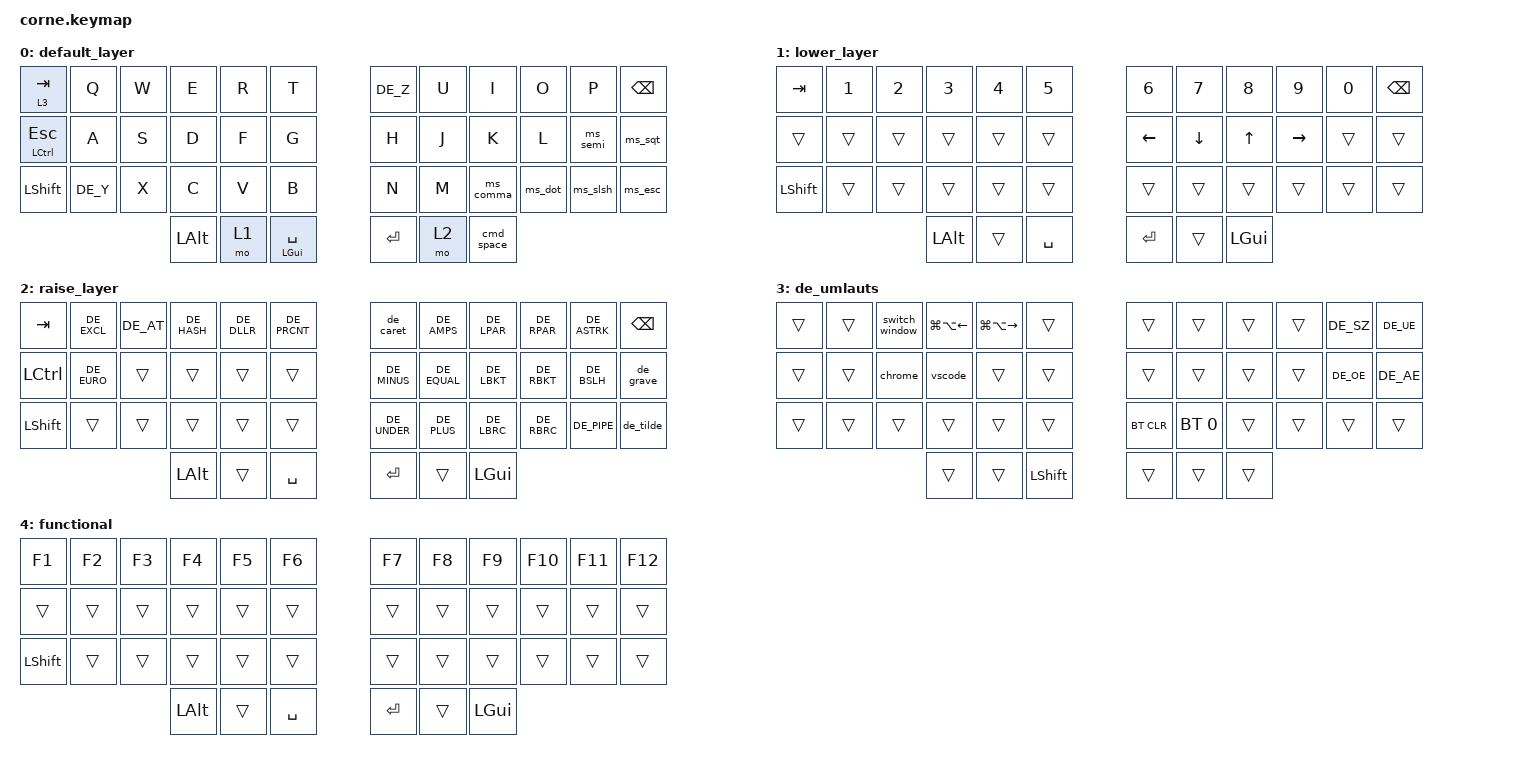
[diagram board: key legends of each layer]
/*
 * Copyright (c) 2020 The ZMK Contributors
 *
 * SPDX-License-Identifier: MIT
 */

#include <behaviors.dtsi>
#include <dt-bindings/zmk/bt.h>
#include <dt-bindings/zmk/keys.h>

/*
 * The host uses the macOS "German" input source (same as the laptop keyboard).
 * DE_* aliases map each character to the keycode that produces it there.
 */
#include "keys_de_mac.h"

/*                                      42 KEY MATRIX / LAYOUT MAPPING

  ╭────────────────────────┬────────────────────────╮ ╭─────────────────────────┬─────────────────────────╮
  │  0   1   2   3   4   5 │  6   7   8   9  10  11 │ │ LT5 LT4 LT3 LT2 LT1 LT0 │ RT0 RT1 RT2 RT3 RT4 RT5 │
  │ 12  13  14  15  16  17 │ 18  19  20  21  22  23 │ │ LM5 LM4 LM3 LM2 LM1 LM0 │ RM0 RM1 RM2 RM3 RM4 RM5 │
  │ 24  25  26  27  28  29 │ 30  31  32  33  34  35 │ │ LB5 LB4 LB3 LB2 LB1 LB0 │ RB0 RB1 RB2 RB3 RB4 RB5 │
  ╰───────────╮ 36  37  38 │ 39  40  41 ╭───────────╯ ╰───────────╮ LH2 LH1 LH0 │ RH0 RH1 RH2 ╭───────────╯
              ╰────────────┴────────────╯                         ╰─────────────┴─────────────╯             */

/ {
    macros {
        vscode: vscode {
            compatible = "zmk,behavior-macro";
            #binding-cells = <0>;
            bindings = <&kp LA(LC(LG(T)))>;
        };

        chrome: chrome {
            compatible = "zmk,behavior-macro";
            #binding-cells = <0>;
            bindings = <&kp LA(LC(LG(C)))>;
        };

        // Cmd+< cycles windows of the current app on a German Mac layout
        switch_window: switch_window {
            compatible = "zmk,behavior-macro";
            #binding-cells = <0>;
            bindings = <&kp LG(DE_LT)>;
        };

        // Dead keys + space, so ^ ` ~ are typed immediately
        de_caret: de_caret {
            compatible = "zmk,behavior-macro";
            #binding-cells = <0>;
            bindings = <&macro_tap &kp DE_DEAD_CARET &kp SPACE>;
        };

        de_grave: de_grave {
            compatible = "zmk,behavior-macro";
            #binding-cells = <0>;
            bindings = <&macro_tap &kp DE_DEAD_GRAVE &kp SPACE>;
        };

        de_tilde: de_tilde {
            compatible = "zmk,behavior-macro";
            #binding-cells = <0>;
            bindings = <&macro_tap &kp DE_DEAD_TILDE &kp SPACE>;
        };
    };

    /* combos {
        compatible = "zmk,combos";

        app_vscode {
            bindings = <&vscode>;
            key-positions = <13 14>;
            layers = <0>;
            require-prior-idle-ms = <300>;
        };

        app_chrome {
            bindings = <&chrome>;
            key-positions = <15 16>;
            layers = <0>;
            require-prior-idle-ms = <300>;
        };

        nav_switch_window {
            bindings = <&switch_window>;
            key-positions = <14 15>;
            layers = <0>;
            require-prior-idle-ms = <300>;
        };
    }; */

    // Holding lower + raise together activates the functional (F-key) layer
    conditional_layers {
        compatible = "zmk,conditional-layers";

        fn_layer {
            if-layers = <1 2>;
            then-layer = <4>;
        };
    };

    behaviors {
        cmd_space: cmd_space {
            compatible = "zmk,behavior-tap-dance";
            #binding-cells = <0>;
            tapping-term-ms = <200>;
            bindings = <&kp LGUI>, <&kp LG(SPC)>;
        };

        /*
         * First argument is the kp on hold, second on tap.
         * "balanced": only becomes a hold if another key is pressed AND released
         * while held, so rolls like Space→W stay taps.
         */
        td: tapdance {
            compatible = "zmk,behavior-hold-tap";
            #binding-cells = <2>;
            flavor = "balanced";
            tapping-term-ms = <250>;
            quick-tap-ms = <175>;
            require-prior-idle-ms = <150>;
            bindings = <&kp>, <&kp>;
        };

        td_umlauts: td_umlauts {
            compatible = "zmk,behavior-hold-tap";
            #binding-cells = <2>;
            flavor = "balanced";
            tapping-term-ms = <200>;
            quick-tap-ms = <175>;
            bindings = <&mo>, <&kp>;
        };

        /*
         * Base-layer punctuation keeps US-style shift pairs (Shift+; = :, etc.),
         * which the German layout would otherwise put elsewhere.
         */
        ms_semi: ms_semi {
            compatible = "zmk,behavior-mod-morph";
            #binding-cells = <0>;
            bindings = <&kp DE_SEMI>, <&kp DE_COLON>;
            mods = <(MOD_LSFT|MOD_RSFT)>;
        };

        ms_sqt: ms_sqt {
            compatible = "zmk,behavior-mod-morph";
            #binding-cells = <0>;
            bindings = <&kp DE_SQT>, <&kp DE_DQT>;
            mods = <(MOD_LSFT|MOD_RSFT)>;
        };

        ms_comma: ms_comma {
            compatible = "zmk,behavior-mod-morph";
            #binding-cells = <0>;
            bindings = <&kp DE_COMMA>, <&kp DE_LT>;
            mods = <(MOD_LSFT|MOD_RSFT)>;
        };

        ms_dot: ms_dot {
            compatible = "zmk,behavior-mod-morph";
            #binding-cells = <0>;
            bindings = <&kp DE_DOT>, <&kp DE_GT>;
            mods = <(MOD_LSFT|MOD_RSFT)>;
        };

        ms_slsh: ms_slsh {
            compatible = "zmk,behavior-mod-morph";
            #binding-cells = <0>;
            bindings = <&kp DE_SLSH>, <&kp DE_QMARK>;
            mods = <(MOD_LSFT|MOD_RSFT)>;
        };

        ms_esc: ms_esc {
            compatible = "zmk,behavior-mod-morph";
            #binding-cells = <0>;
            bindings = <&kp ESC>, <&de_grave>;
            mods = <(MOD_LSFT|MOD_RSFT)>;
        };
    };

    keymap {
        compatible = "zmk,keymap";

        default_layer {
            // -------------------------------------------------------------------------------------
            // | TAB/UML |  Q  |  W  |  E  |  R  |  T  |   |  Z  |  U  |  I  |  O  |  P  | BSPC |
            // | ESC/CTL |  A  |  S  |  D  |  F  |  G  |   |  H  |  J  |  K  |  L  | ; : | ' "  |
            // |  SHFT   |  Y  |  X  |  C  |  V  |  B  |   |  N  |  M  | , < | . > | / ? | ESC ` |
            //                 | ALT | LWR | SPC/GUI |   | ENT | RSE | GUI/⌘SPC |

            bindings = <
&td_umlauts 3 TAB     &kp Q     &kp W  &kp E         &kp R  &kp T        &kp DE_Z  &kp U  &kp I      &kp O    &kp P     &kp BSPC
&td LCTRL ESC         &kp A     &kp S  &kp D         &kp F  &kp G        &kp H     &kp J  &kp K      &kp L    &ms_semi  &ms_sqt
&kp LSHFT             &kp DE_Y  &kp X  &kp C         &kp V  &kp B        &kp N     &kp M  &ms_comma  &ms_dot  &ms_slsh  &ms_esc
                            &kp LEFT_ALT  &mo 1  &td LGUI SPACE      &kp RET  &mo 2  &cmd_space
            >;
        };

        lower_layer {
            // -----------------------------------------------------------------------------------------
            // |  TAB |  1  |  2  |  3  |  4  |  5  |   |  6  |  7  |  8  |  9  |  0  | BSPC |
            // |      |     |     |     |     |     |   | LFT | DWN |  UP | RGT |     |      |
            // | SHFT |     |     |     |     |     |   |     |     |     |     |     |      |
            //                    | ALT |     | SPC |   | ENT |     | GUI |

            bindings = <
&kp TAB     &kp N1        &kp N2        &kp N3        &kp N4        &kp N5          &kp N6    &kp N7    &kp N8    &kp N9      &kp N0   &kp BSPC
&trans      &trans        &trans        &trans        &trans        &trans          &kp LEFT  &kp DOWN  &kp UP    &kp RIGHT   &trans   &trans
&kp LSHIFT  &trans        &trans        &trans        &trans        &trans          &trans    &trans    &trans    &trans      &trans   &trans
                                        &kp LEFT_ALT      &trans        &kp SPACE       &kp RET   &trans    &kp LGUI
            >;
        };

        raise_layer {
            // -----------------------------------------------------------------------------------------
            // |  TAB |  !  |  @  |  #  |  $  |  %  |   |  ^  |  &  |  (  |  )  |  *  | BSPC |
            // | CTRL |  €  |     |     |     |     |   |  -  |  =  |  [  |  ]  |  \  |  `   |
            // | SHFT |     |     |     |     |     |   |  _  |  +  |  {  |  }  | "|" |  ~   |
            //                    | ALT |     | SPC |   | ENT |     | GUI |

            bindings = <
&kp TAB    &kp DE_EXCL  &kp DE_AT  &kp DE_HASH  &kp DE_DLLR  &kp DE_PRCNT    &de_caret     &kp DE_AMPS   &kp DE_LPAR  &kp DE_RPAR  &kp DE_ASTRK  &kp BSPC
&kp LCTRL  &kp DE_EURO  &trans     &trans       &trans       &trans          &kp DE_MINUS  &kp DE_EQUAL  &kp DE_LBKT  &kp DE_RBKT  &kp DE_BSLH   &de_grave
&kp LSHFT  &trans       &trans     &trans       &trans       &trans          &kp DE_UNDER  &kp DE_PLUS   &kp DE_LBRC  &kp DE_RBRC  &kp DE_PIPE   &de_tilde
                              &kp LEFT_ALT  &trans  &kp SPACE  &kp RET    &trans     &kp LGUI
            >;
        };

        de_umlauts {
            // -----------------------------------------------------------------------------------------
            // |      |     | SWIN | DSK← | DSK→ |  |   |       |     |     |     |  ß  |  ü  |
            // |      |     | CHRM | CODE |      |  |   |       |     |     |     |  ö  |  ä  |
            // |      |     |      |      |      |  |   | BTCLR | BT0 |     |     |     |     |
            //                     |      |      | SHFT |   |     |     |     |

            bindings = <
&trans  &trans  &switch_window  &kp LG(LA(LEFT))  &kp LG(LA(RIGHT))  &trans      &trans      &trans        &trans  &trans  &kp DE_SZ  &kp DE_UE
&trans  &trans  &chrome         &vscode           &trans             &trans      &trans      &trans        &trans  &trans  &kp DE_OE  &kp DE_AE
&trans  &trans  &trans          &trans            &trans             &trans      &bt BT_CLR  &bt BT_SEL 0  &trans  &trans  &trans     &trans
                                                    &trans  &trans  &kp LSHIFT  &trans  &trans  &trans
            >;
        };

        functional {
            // -----------------------------------------------------------------------------------------
            // |  F1  |  F2  |  F3  |  F4  |  F5  |  F6  |   |  F7  |  F8  |  F9  | F10  | F11  | F12  |
            // |      |      |      |      |      |      |   |      |      |      |      |      |      |
            // | SHFT |      |      |      |      |      |   |      |      |      |      |      |      |
            //                      | ALT  |      | SPC  |   | ENT  |      | GUI  |

            bindings = <
&kp F1      &kp F2        &kp F3        &kp F4        &kp F5        &kp F6          &kp F7    &kp F8    &kp F9    &kp F10    &kp F11  &kp F12
&trans      &trans        &trans        &trans        &trans        &trans          &trans    &trans    &trans    &trans     &trans   &trans
&kp LSHFT   &trans        &trans        &trans        &trans        &trans          &trans    &trans    &trans    &trans     &trans   &trans
                                        &kp LEFT_ALT  &trans        &kp SPACE       &kp RET   &trans    &kp LGUI
            >;
        };
    };
};
